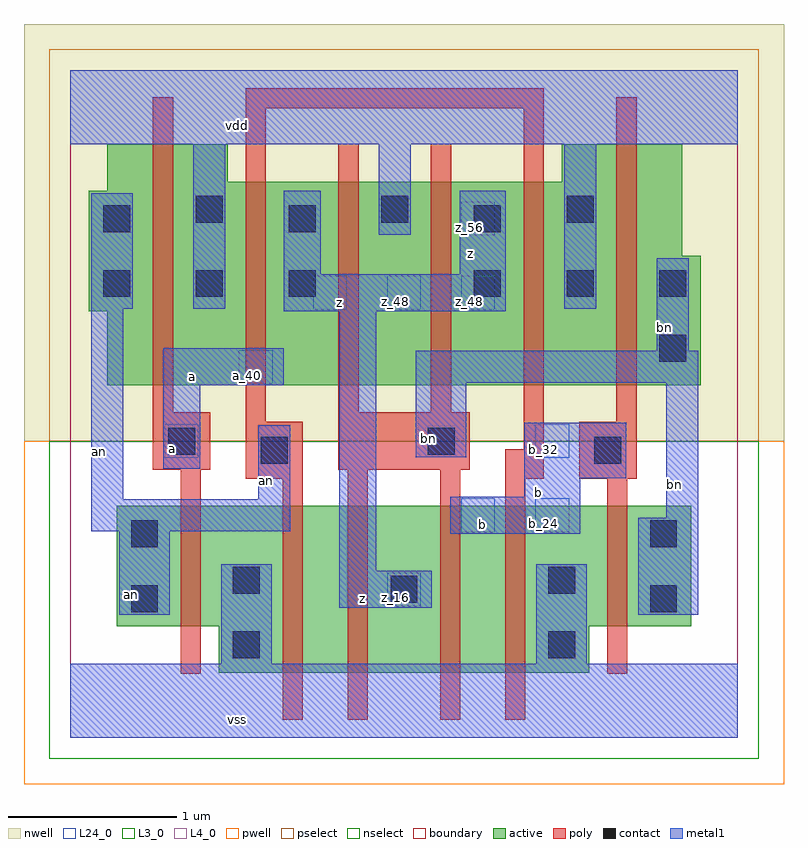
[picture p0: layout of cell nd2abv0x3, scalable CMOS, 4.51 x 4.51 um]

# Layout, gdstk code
import gdstk
lib = gdstk.Library(unit=1e-6, precision=2.5e-09)
def R(c, l, rs):  # rectangles x0, y0, x1, y1
    for r in rs: c.add(gdstk.rectangle(r[:2], r[2:], *l))
def A(c, l, x, y, w, h, nx, ny, dx, dy):  # array of equal rectangles
    R(c, l, [(x+i*dx, y+j*dy, x+i*dx+w, y+j*dy+h) for i in range(nx) for j in range(ny)])
L3_0 = (3, 0)
L4_0 = (4, 0)
L24_0 = (24, 0)
contact = (25, 0)
pwell = (41, 0)
nwell = (42, 0)
active = (43, 0)
pselect = (44, 0)
nselect = (45, 0)
poly = (46, 0)
metal1 = (49, 0)
boundary = (63, 0)

nd2abv0x3 = lib.new_cell('nd2abv0x3')
R(nd2abv0x3, L3_0, [(0.88,0.385,3.08,0.66), (0.275,0.66,3.685,1.375)])
R(nd2abv0x3, L4_0, [(0.22,2.09,3.74,2.53), (0.11,2.53,3.74,2.86), (0.11,2.86,3.63,3.245), (0.22,3.245,3.63,3.3), (0.22,3.3,0.935,3.52), (2.915,3.3,3.63,3.52)])
A(nd2abv0x3, L24_0, 1.44, 2.54, 0.2, 0.2, 3, 1, 0.44, 0)
R(nd2abv0x3, L24_0, [(1.88,0.78,2.08,0.98), (2.32,1.22,2.52,1.42), (2.76,1.22,2.96,1.42), (0.56,1.66,0.76,1.86), (2.76,1.66,2.96,1.86), (1,2.1,1.2,2.3), (2.32,2.98,2.52,3.18)])
A(nd2abv0x3, contact, 0.195, 2.615, 0.16, 0.16, 3, 1, 0.55, 0)
A(nd2abv0x3, contact, 2.395, 2.615, 0.16, 0.16, 3, 1, 0.55, 0)
A(nd2abv0x3, contact, 0.195, 3, 0.16, 0.16, 3, 1, 1.1, 0)
A(nd2abv0x3, contact, 0.745, 3.055, 0.16, 0.16, 3, 1, 1.1, 0)
R(nd2abv0x3, contact, [(0.965,0.47,1.125,0.63), (2.835,0.47,2.995,0.63), (0.36,0.745,0.52,0.905), (3.44,0.745,3.6,0.905), (1.9,0.8,2.06,0.96), (0.965,0.855,1.125,1.015), (2.835,0.855,2.995,1.015), (0.36,1.13,0.52,1.29), (3.44,1.13,3.6,1.29), (1.13,1.625,1.29,1.785), (3.11,1.625,3.27,1.785), (0.58,1.68,0.74,1.84), (2.12,1.68,2.28,1.84), (3.495,2.23,3.655,2.39)])
R(nd2abv0x3, pwell, [(-0.275,-0.275,4.235,1.76)])
R(nd2abv0x3, nwell, [(-0.275,1.76,4.235,4.235)])
R(nd2abv0x3, active, [(0.88,0.385,3.08,0.66), (0.275,0.66,3.685,1.375), (0.22,2.09,3.74,2.53), (0.11,2.53,3.74,2.86), (0.11,2.86,3.63,3.245), (0.22,3.245,3.63,3.3), (0.22,3.3,0.935,3.52), (2.915,3.3,3.63,3.52)])
R(nd2abv0x3, pselect, [(-0.125,1.76,4.085,4.085)])
R(nd2abv0x3, nselect, [(-0.125,-0.125,4.085,1.76)])
R(nd2abv0x3, poly, [(1.26,0.105,1.38,1.535), (1.645,0.105,1.765,1.59), (2.195,0.105,2.315,1.59), (2.58,0.105,2.7,1.535), (0.655,0.38,0.775,1.59), (3.185,0.38,3.305,1.535), (1.04,1.535,1.38,1.875), (2.58,1.535,2.81,1.71), (3.02,1.535,3.36,1.875), (0.49,1.59,0.83,1.93), (1.59,1.59,2.37,1.93), (2.69,1.71,2.81,3.735), (1.04,1.875,1.16,3.735), (3.24,1.875,3.36,3.8), (0.49,1.93,0.61,3.8), (1.59,1.93,1.71,3.525), (2.14,1.93,2.26,3.525), (1.04,3.735,2.81,3.855)])
R(nd2abv0x3, metal1, [(0,0,3.96,0.44), (0.895,0.44,1.195,1.03), (2.765,0.44,3.065,1.03), (0.29,0.73,0.59,1.225), (3.37,0.73,3.725,1.305), (1.595,0.77,2.145,0.99), (1.595,0.99,1.815,2.53), (2.255,1.21,3.025,1.43), (0.125,1.225,1.305,1.415), (3.535,1.305,3.725,2.105), (0.125,1.415,0.315,2.545), (1.115,1.415,1.305,1.855), (2.695,1.43,3.025,1.54), (2.695,1.54,3.3,1.87), (0.55,1.595,0.77,2.09), (2.05,1.665,2.35,2.105), (0.55,2.09,1.265,2.31), (2.05,2.105,3.725,2.295), (3.48,2.295,3.67,2.845), (1.265,2.53,2.585,2.75), (0.125,2.545,0.37,3.23), (0.73,2.545,0.92,3.52), (2.93,2.545,3.12,3.52), (1.265,2.75,1.485,3.245), (2.31,2.75,2.585,3.245), (1.83,2.985,2.02,3.52), (0,3.52,3.96,3.96)])
R(nd2abv0x3, boundary, [(0,0,3.96,3.96)])
nd2abv0x3.add(gdstk.Label('vss', (0.99,0.11), layer=49, texttype=0))
nd2abv0x3.add(gdstk.Label('z', (1.7325,0.825), layer=49, texttype=0))
nd2abv0x3.add(gdstk.Label('bn', (3.5825,1.505), layer=49, texttype=0))
nd2abv0x3.add(gdstk.Label('b', (2.4475,1.265), layer=49, texttype=0))
nd2abv0x3.add(gdstk.Label('b', (2.7775,1.4575), layer=49, texttype=0))
nd2abv0x3.add(gdstk.Label('bn', (2.125,1.775), layer=49, texttype=0))
nd2abv0x3.add(gdstk.Label('bn', (3.5275,2.4325), layer=49, texttype=0))
nd2abv0x3.add(gdstk.Label('an', (0.365,0.8525), layer=49, texttype=0))
nd2abv0x3.add(gdstk.Label('an', (1.1625,1.525), layer=49, texttype=0))
nd2abv0x3.add(gdstk.Label('a', (0.605,1.7175), layer=49, texttype=0))
nd2abv0x3.add(gdstk.Label('a', (0.7275,2.145), layer=49, texttype=0))
nd2abv0x3.add(gdstk.Label('z', (1.595,2.585), layer=49, texttype=0))
nd2abv0x3.add(gdstk.Label('an', (0.1725,1.6975), layer=49, texttype=0))
nd2abv0x3.add(gdstk.Label('z', (2.3775,2.8725), layer=49, texttype=0))
nd2abv0x3.add(gdstk.Label('vdd', (0.99,3.63), layer=49, texttype=0))
nd2abv0x3.add(gdstk.Label('a_32', (0.61,1.71), layer=24, texttype=0))
nd2abv0x3.add(gdstk.Label('a_40', (1.05,2.15), layer=24, texttype=0))
nd2abv0x3.add(gdstk.Label('z_48', (1.49,2.59), layer=24, texttype=0))
nd2abv0x3.add(gdstk.Label('z_16', (1.93,0.83), layer=24, texttype=0))
nd2abv0x3.add(gdstk.Label('z_48', (1.93,2.59), layer=24, texttype=0))
nd2abv0x3.add(gdstk.Label('b_24', (2.37,1.27), layer=24, texttype=0))
nd2abv0x3.add(gdstk.Label('z_48', (2.37,2.59), layer=24, texttype=0))
nd2abv0x3.add(gdstk.Label('z_56', (2.37,3.03), layer=24, texttype=0))
nd2abv0x3.add(gdstk.Label('b_24', (2.81,1.27), layer=24, texttype=0))
nd2abv0x3.add(gdstk.Label('b_32', (2.81,1.71), layer=24, texttype=0))

lib.write_gds('nd2abv0x3.gds')
